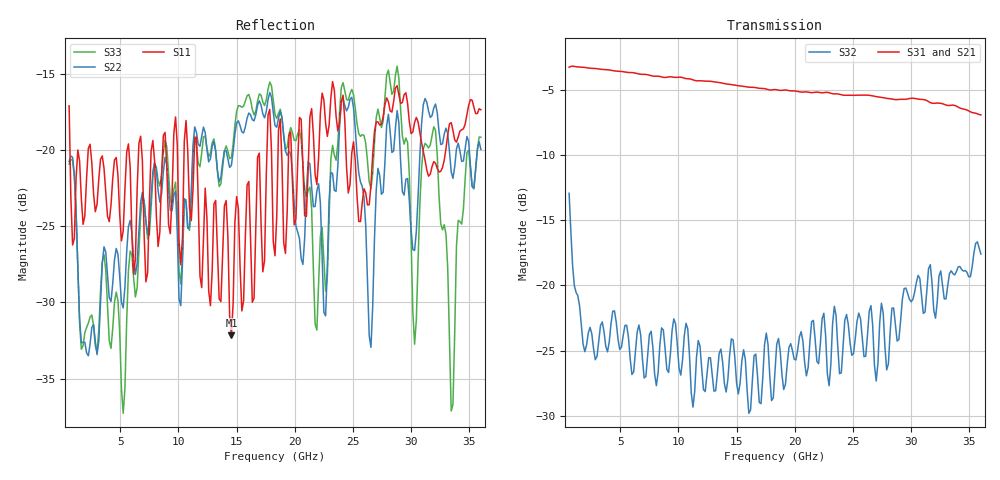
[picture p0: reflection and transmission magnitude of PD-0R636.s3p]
! MARKI MICROWAVE INC.
! Email:  info@markimicrowave.com  Phone:  408-778-4200
! Model Number:  PD0R636  Date:  07/11
! Filename:		PD-0R636.S3P  Version: 1.0
! Description:  3-port S-parameter data for Power Divider PD0R636
! Frequency Range: 	0.6 GHz to 36 GHz
! Port Configuration:	PORT 1: COMMON, PORT 2 and Port 3: Output
! S3P File: Measurements: Mag<S11> Ang<S11> Mag<S12> Ang<S12> Mag<S13> Ang<S13>! row 1
!  Mag<S21> Ang<S21> Mag<S22> Ang<S22> Mag<S23> Ang<S23>! row 2
!  Mag<S31> Ang<S31> Mag<S32> Ang<S32> Mag<S33> Ang<S33>! row 3
# GHz S DB R 50
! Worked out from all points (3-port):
!   237 points, 600 MHz to 36 GHz, reference 50 ohm
!   strongest paths, dB at 600 MHz, 9.45 GHz, 18.3 GHz, 27.15 GHz, 36 GHz:
!     S31: -3.3, -4.0, -5.0, -5.6, -6.9
!     S21: -3.3, -4.1, -5.1, -5.6, -6.8
!     S32: -12.9, -23.5, -26.5, -26.0, -17.6
!   lowest |S11| = -32.2 dB at 14.55 GHz (marker M1), VSWR 1.05, Z = 49.9 + j2.46 ohm
!   |S11| at or under -10 dB: start of sweep to end of sweep
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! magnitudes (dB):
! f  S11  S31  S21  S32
! 600 MHz  -17.1  -3.3  -3.3  -12.9
! 5.25 GHz  -25.3  -3.6  -3.6  -23.8
! 14.55 GHz  -32.2  -4.6  -4.7  -24.1
! 18.3 GHz  -26.9  -5.0  -5.1  -26.5
! 21.9 GHz  -22.2  -5.2  -5.3  -25.8
! 24.9 GHz  -20.2  -5.4  -5.5  -25.4
! 26.55 GHz  -22.3  -5.5  -5.5  -21.6
! 31.95 GHz  -20.7  -6.1  -6.1  -21.9
! 33.45 GHz  -18.2  -6.2  -6.4  -18.9
! 36 GHz  -17.3  -6.9  -6.8  -17.6
